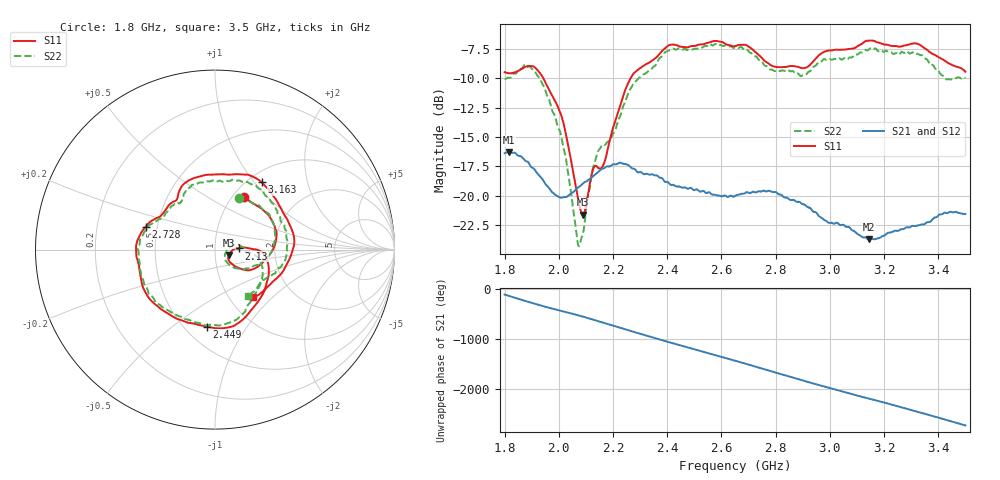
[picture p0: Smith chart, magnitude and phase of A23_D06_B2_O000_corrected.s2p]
! Created with skrf 1.9.0 (http://scikit-rf.org).
# Hz S RI R 50.0
!freq ReS11 ImS11 ReS21 ImS21 ReS12 ImS12 ReS22 ImS22
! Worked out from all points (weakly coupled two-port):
!   1601 points, 1.8 GHz to 3.5 GHz, reference 50 ohm
!   highest |S21| = -16.30 dB at 1.816 GHz (marker M1); lowest = -23.7 dB at 3.144 GHz (marker M2)
!   lowest |S11| = -21.6 dB at 2.09 GHz (marker M3), VSWR 1.18, Z = 58.3 - j3.44 ohm
!   |S11| at or under -10 dB: 1.943 GHz to 2.264 GHz (321.3 MHz wide, 15.3 % of centre)
!   |S22| runs from -24.3 to -7.1 dB; largest |S21 - S12| = 0.0026
!   S11 on the Smith chart (normalised r, x): 1.8 GHz: 1.12, +0.75; 2.13 GHz: 1.31, +0.02; 2.449 GHz: 0.64, -0.67; 2.728 GHz: 0.43, +0.13; 3.163 GHz: 1.15, +1.09; 3.5 GHz: 1.27, -0.76
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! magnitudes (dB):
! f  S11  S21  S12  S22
! 1.8 GHz  -9.5  -16.4  -16.4  -10.0
! 1.816 GHz  -9.6  -16.3  -16.3  -9.9
! 1.881 GHz  -9.0  -17.1  -17.1  -9.0
! 1.942 GHz  -10.0  -18.7  -18.7  -10.6
! 2.013 GHz  -13.4  -20.2  -20.1  -15.4
! 2.068 GHz  -19.9  -19.4  -19.4  -23.8
! 2.084 GHz  -21.5  -19.1  -19.0  -23.6
! 2.09 GHz  -21.6  -18.9  -19.0  -23.1
! 2.13 GHz  -17.5  -18.3  -18.3  -17.3
! 2.166 GHz  -17.3  -17.7  -17.6  -15.6
! 2.266 GHz  -9.9  -17.6  -17.6  -10.8
! 2.367 GHz  -8.0  -18.4  -18.3  -8.4
! 2.449 GHz  -7.3  -19.3  -19.3  -7.5
! 2.65 GHz  -7.3  -20.0  -20.0  -7.4
! 2.728 GHz  -7.8  -19.7  -19.7  -8.1
! 2.8 GHz  -9.0  -19.7  -19.7  -9.4
! 2.934 GHz  -8.7  -21.2  -21.2  -9.2
! 3.144 GHz  -6.8  -23.7  -23.6  -7.5
! 3.163 GHz  -6.8  -23.7  -23.7  -7.5
! 3.217 GHz  -7.2  -23.1  -23.1  -7.8
! 3.324 GHz  -7.1  -22.5  -22.5  -7.9
! 3.5 GHz  -9.4  -21.5  -21.5  -10.0
